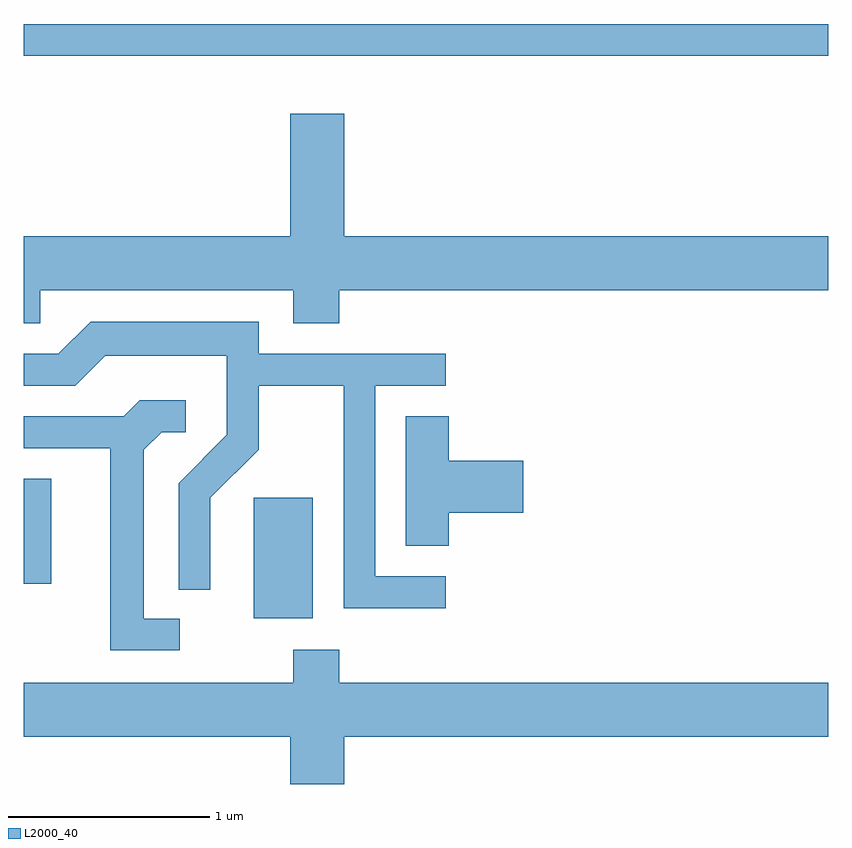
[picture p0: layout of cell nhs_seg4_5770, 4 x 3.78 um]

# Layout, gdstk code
import gdstk
lib = gdstk.Library(unit=1e-6, precision=1e-09)
def R(c, l, rs):  # rectangles x0, y0, x1, y1
    for r in rs: c.add(gdstk.rectangle(r[:2], r[2:], *l))
def P(c, l, *ps):  # polygons
    for p in ps: c.add(gdstk.Polygon(p, *l))
L2000_40 = (2000, 40)

nhs_seg4_5770 = lib.new_cell('nhs_seg4_5770')
R(nhs_seg4_5770, L2000_40, [(354.756,1370.806,355.049,1371.404), (353.611,1370.976,353.749,1371.499), (353.611,1373.601,357.611,1373.759)])
P(nhs_seg4_5770, L2000_40, [(353.694,1372.436),(354.951,1372.436),(354.951,1372.271),(355.179,1372.271),(355.179,1372.436),(357.611,1372.436),(357.611,1372.704),(355.204,1372.704),(355.204,1373.314),(354.936,1373.314),(354.936,1372.704),(353.611,1372.704),(353.611,1372.271),(353.694,1372.271)],
  [(355.708,1371.014),(355.359,1371.014),(355.359,1371.961),(355.708,1371.961),(355.708,1372.119),(354.779,1372.119),(354.779,1372.279),(353.944,1372.279),(353.784,1372.119),(353.611,1372.119),(353.611,1371.961),(353.867,1371.961),(354.017,1372.111),(354.621,1372.111),(354.621,1371.717),(354.381,1371.477),(354.381,1370.948),(354.539,1370.948),(354.539,1371.404),(354.779,1371.644),(354.779,1371.961),(355.201,1371.961),(355.201,1370.856),(355.708,1370.856)],
  [(354.388,1370.804),(354.209,1370.804),(354.209,1371.644),(354.297,1371.731),(354.418,1371.731),(354.418,1371.889),(354.189,1371.889),(354.109,1371.809),(353.611,1371.809),(353.611,1371.651),(354.041,1371.651),(354.041,1370.646),(354.388,1370.646)],
  [(355.724,1371.331),(356.094,1371.331),(356.094,1371.589),(355.724,1371.589),(355.724,1371.809),(355.511,1371.809),(355.511,1371.166),(355.724,1371.166)],
  [(354.951,1370.649),(354.951,1370.484),(353.611,1370.484),(353.611,1370.216),(354.936,1370.216),(354.936,1369.982),(355.204,1369.982),(355.204,1370.216),(357.611,1370.216),(357.611,1370.484),(355.179,1370.484),(355.179,1370.649)])

lib.write_gds('nhs_seg4_5770.gds')
